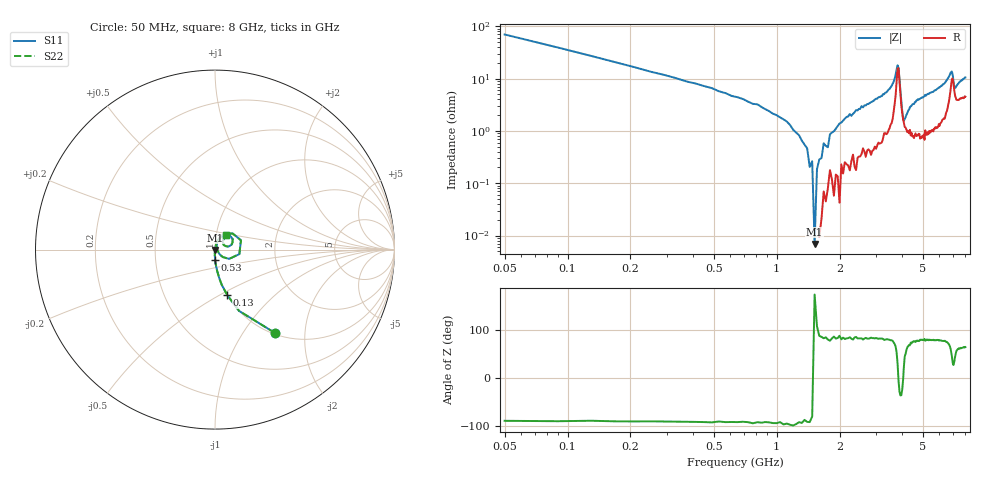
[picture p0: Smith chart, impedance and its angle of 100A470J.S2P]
!  American Technical Ceramics  Date:  3/13/98
!  One Norden Lane
!  Huntington Station,  NY.  11746-2102
!  Tel:  (516) 547-5700  Fax:  (516) 547-5748
!  Part Number  100A470J
!  Description: Porcelain, High Q, Low ESR
!  Application: Bypass, Coupling, Timing, Feedback
!  Tuning, Impedance Match, Blocking
# GHZ S DB R 50
! Freq  |S11|  S11 Ph  |S21|  S21 Ph  |S12|  S12 Ph  |S22|  S22 Ph
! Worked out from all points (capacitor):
!   201 points, 50 MHz to 8 GHz, reference 50 ohm
!   read as one part in series: C = 44.8 pF near 90 MHz
!   lowest |Z| = 6.9 mohm at 1.52 GHz (marker M1)
!   series resonance near 1.52 GHz, so ESL is about 240 pH
!   S11 on the Smith chart (normalised r, x): 50 MHz: 1.02, -1.41; 130 MHz: 1.00, -0.54; 530 MHz: 1.00, -0.12; 8 GHz: 1.12, +0.19
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0.05  -4.86 -54.3  -1.73 34.9  -1.73 34.9  -4.86 -54.3
0.13  -11.62 -74.9  -0.37 15.1  -0.37 15.1  -11.62 -74.9
0.53  -24.69 -89.1  -0.02 3.2  -0.02 3.2  -24.69 -89.1
1.4  -43.43 -92.0  0.00 0.1  0.00 0.1  -43.43 -92.0
1.52  -51.11 -92.9  0.00 -0.2  0.00 -0.2  -51.11 -92.9
1.56  -53.03 -90.6  0.01 -0.3  0.01 -0.3  -53.03 -90.6
1.6  -73.74 -24.4  0.00 -0.3  0.00 -0.3  -73.74 -24.4
1.64  -65.84 34.4  0.00 -0.3  0.00 -0.3  -65.84 34.4
1.68  -52.81 83.4  -0.01 -0.5  -0.01 -0.5  -52.81 83.4
1.8  -45.39 75.6  -0.02 -0.7  -0.02 -0.7  -45.39 75.6
2  -38.75 78.8  0.01 -0.9  0.01 -0.9  -38.75 78.8
2.71  -30.50 77.7  -0.03 -2.0  -0.03 -2.0  -30.50 77.7
3.51  -24.09 70.8  -0.10 -4.1  -0.10 -4.1  -24.09 70.8
3.79  -16.27 19.6  -1.23 -5.5  -1.23 -5.5  -16.27 19.6
4.03  -35.04 -27.5  -0.15 -0.4  -0.15 -0.4  -35.04 -27.5
4.1  -38.12 9.6  -0.10 -1.2  -0.10 -1.2  -38.12 9.6
4.54  -32.39 68.5  -0.06 -2.3  -0.06 -2.3  -32.39 68.5
5.38  -28.79 73.3  -0.09 -3.8  -0.09 -3.8  -28.79 73.3
6.69  -20.52 57.7  -0.33 -6.7  -0.33 -6.7  -20.52 57.7
6.89  -18.82 31.0  -0.77 -6.6  -0.77 -6.6  -18.82 31.0
7.13  -25.18 29.2  -0.42 -3.4  -0.42 -3.4  -25.18 29.2
8  -19.66 53.4  -0.32 -5.4  -0.32 -5.4  -19.66 53.4
